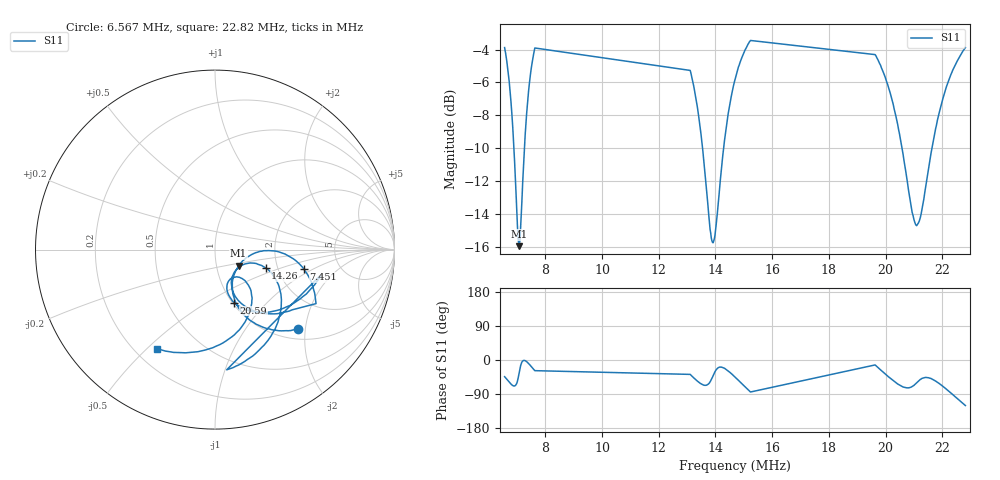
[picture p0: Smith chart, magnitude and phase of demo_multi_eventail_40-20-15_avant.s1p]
! Dipole eventail 40/20/15 m : brins 20 m trop longs
! Fichier de demonstration simule - Analyseur ROS NanoVNA F4CVQ
# HZ S RI R 50
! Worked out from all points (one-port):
!   303 points, 6.567 MHz to 22.82 MHz, reference 50 ohm
!   lowest |S11| = -16.0 dB at 7.079 MHz (marker M1), VSWR 1.38, Z = 63.9 - j11.7 ohm
!   |S11| at or under -10 dB: 6.896 MHz to 7.265 MHz (369.6 kHz wide, 5.22 % of centre); 13.55 MHz to 14.29 MHz (742.1 kHz wide, 5.33 % of centre); 20.58 MHz to 21.64 MHz (1.055 MHz wide, 5 % of centre)
!   S11 on the Smith chart (normalised r, x): 6.567 MHz: 1.21, -1.82; 7.451 MHz: 2.79, -0.81; 14.26 MHz: 1.73, -0.38; 20.59 MHz: 1.02, -0.67; 22.82 MHz: 0.29, -0.54
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6567500  0.4606 -0.4445
6716600  0.2779 -0.436
6865700  0.1324 -0.3266
7025450  0.1042 -0.1452
7078700  0.1314 -0.0896
7270400  0.3218 -0.00603
7451450  0.4951 -0.1083
7632500  0.563 -0.3009
1.311188e7  0.4299 -0.3355
1.33245e7  0.2668 -0.3552
1.355839e7  0.1286 -0.2822
1.389859e7  0.1156 -0.1154
1.40049e7  0.1556 -0.0844
1.426005e7  0.282 -0.1012
1.447268e7  0.3571 -0.2066
1.470656e7  0.3591 -0.3724
1.494045e7  0.2733 -0.5325
1.523812e7  0.0652 -0.6697
1.963312e7  0.5937 -0.1372
2.007885e7  0.3621 -0.3343
2.058825e7  0.1074 -0.2951
2.081111e7  0.067 -0.2258
2.103398e7  0.0802 -0.1699
2.119316e7  0.1123 -0.1531
2.151154e7  0.186 -0.1979
2.189359e7  0.1902 -0.358
2.237115e7  -0.0118 -0.5465
2.281688e7  -0.3216 -0.5537
